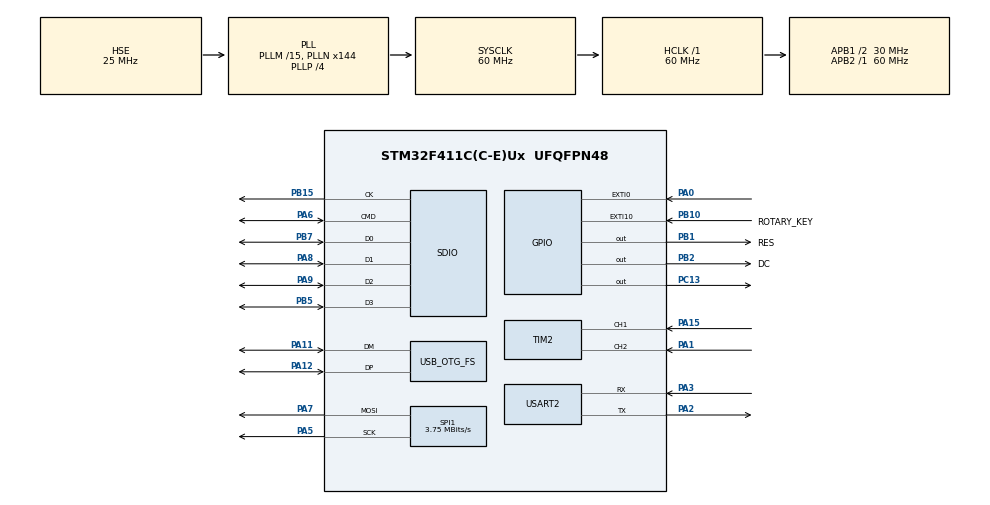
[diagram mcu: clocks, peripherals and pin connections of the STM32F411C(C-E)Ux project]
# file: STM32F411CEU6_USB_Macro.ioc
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Dma.Request0=SDIO_RX
Dma.Request1=SDIO_TX
Dma.Request2=USART2_RX
Dma.Request3=SPI1_TX
Dma.SDIO_RX.0.Direction=DMA_PERIPH_TO_MEMORY
Dma.SDIO_RX.0.FIFOMode=DMA_FIFOMODE_ENABLE
Dma.SDIO_RX.0.FIFOThreshold=DMA_FIFO_THRESHOLD_FULL
Dma.SDIO_RX.0.Instance=DMA2_Stream3
Dma.SDIO_RX.0.MemBurst=DMA_MBURST_INC4
Dma.SDIO_RX.0.MemDataAlignment=DMA_MDATAALIGN_WORD
Dma.SDIO_RX.0.MemInc=DMA_MINC_ENABLE
Dma.SDIO_RX.0.Mode=DMA_PFCTRL
Dma.SDIO_RX.0.PeriphBurst=DMA_PBURST_INC4
Dma.SDIO_RX.0.PeriphDataAlignment=DMA_PDATAALIGN_WORD
Dma.SDIO_RX.0.PeriphInc=DMA_PINC_DISABLE
Dma.SDIO_RX.0.Priority=DMA_PRIORITY_LOW
Dma.SDIO_TX.1.Direction=DMA_MEMORY_TO_PERIPH
Dma.SDIO_TX.1.FIFOMode=DMA_FIFOMODE_ENABLE
Dma.SDIO_TX.1.FIFOThreshold=DMA_FIFO_THRESHOLD_FULL
Dma.SDIO_TX.1.Instance=DMA2_Stream6
Dma.SDIO_TX.1.MemBurst=DMA_MBURST_INC4
Dma.SDIO_TX.1.MemDataAlignment=DMA_MDATAALIGN_WORD
Dma.SDIO_TX.1.MemInc=DMA_MINC_ENABLE
Dma.SDIO_TX.1.Mode=DMA_PFCTRL
Dma.SDIO_TX.1.PeriphBurst=DMA_PBURST_INC4
Dma.SDIO_TX.1.PeriphDataAlignment=DMA_PDATAALIGN_WORD
Dma.SDIO_TX.1.PeriphInc=DMA_PINC_DISABLE
Dma.SDIO_TX.1.Priority=DMA_PRIORITY_LOW
Dma.SPI1_TX.3.Direction=DMA_MEMORY_TO_PERIPH
Dma.SPI1_TX.3.FIFOMode=DMA_FIFOMODE_DISABLE
Dma.SPI1_TX.3.Instance=DMA2_Stream2
Dma.SPI1_TX.3.MemDataAlignment=DMA_MDATAALIGN_BYTE
Dma.SPI1_TX.3.MemInc=DMA_MINC_ENABLE
Dma.SPI1_TX.3.Mode=DMA_NORMAL
Dma.SPI1_TX.3.PeriphDataAlignment=DMA_PDATAALIGN_BYTE
Dma.SPI1_TX.3.PeriphInc=DMA_PINC_DISABLE
Dma.SPI1_TX.3.Priority=DMA_PRIORITY_LOW
Dma.USART2_RX.2.Direction=DMA_PERIPH_TO_MEMORY
Dma.USART2_RX.2.FIFOMode=DMA_FIFOMODE_DISABLE
Dma.USART2_RX.2.Instance=DMA1_Stream5
Dma.USART2_RX.2.MemDataAlignment=DMA_MDATAALIGN_BYTE
Dma.USART2_RX.2.MemInc=DMA_MINC_ENABLE
Dma.USART2_RX.2.Mode=DMA_CIRCULAR
Dma.USART2_RX.2.PeriphDataAlignment=DMA_PDATAALIGN_BYTE
Dma.USART2_RX.2.PeriphInc=DMA_PINC_DISABLE
Dma.USART2_RX.2.Priority=DMA_PRIORITY_LOW
Mcu.Family=STM32F4
Mcu.Name=STM32F411C(C-E)Ux
Mcu.Package=UFQFPN48
NVIC.DMA1_Stream5_IRQn=true\:0\:0\:false\:false\:true\:false\:true\:true
NVIC.DMA2_Stream2_IRQn=true\:0\:0\:false\:false\:true\:false\:true\:true
NVIC.DMA2_Stream3_IRQn=true\:0\:0\:false\:false\:true\:false\:true\:true
NVIC.DMA2_Stream6_IRQn=true\:0\:0\:false\:false\:true\:false\:true\:true
NVIC.EXTI0_IRQn=true\:0\:0\:false\:false\:true\:true\:true\:true
NVIC.EXTI15_10_IRQn=true\:0\:0\:false\:false\:true\:true\:true\:true
NVIC.OTG_FS_IRQn=true\:0\:0\:false\:false\:true\:true\:true\:true
NVIC.PriorityGroup=NVIC_PRIORITYGROUP_4
NVIC.SDIO_IRQn=true\:0\:0\:false\:false\:true\:true\:true\:true
NVIC.SPI1_IRQn=true\:0\:0\:false\:false\:true\:true\:true\:true
NVIC.TIM1_UP_TIM10_IRQn=true\:0\:0\:false\:false\:true\:true\:true\:true
NVIC.USART2_IRQn=true\:0\:0\:false\:false\:true\:true\:true\:true
PA0-WKUP.GPIO_PuPd=GPIO_PULLUP
PA0-WKUP.Signal=GPXTI0
PA1.Signal=S_TIM2_CH2
PA11.Mode=Device_Only
PA11.Signal=USB_OTG_FS_DM
PA12.Mode=Device_Only
PA12.Signal=USB_OTG_FS_DP
PA15.Signal=S_TIM2_CH1_ETR
PA2.Mode=Asynchronous
PA2.Signal=USART2_TX
PA3.Mode=Asynchronous
PA3.Signal=USART2_RX
PA5.Mode=TX_Only_Simplex_Unidirect_Master
PA5.Signal=SPI1_SCK
PA6.Mode=SD_4_bits_Wide_bus
PA6.Signal=SDIO_CMD
PA7.Mode=TX_Only_Simplex_Unidirect_Master
PA7.Signal=SPI1_MOSI
PA8.Mode=SD_4_bits_Wide_bus
PA8.Signal=SDIO_D1
PA9.Mode=SD_4_bits_Wide_bus
PA9.Signal=SDIO_D2
PB1.GPIO_Label=RES
PB1.Signal=GPIO_Output
PB10.GPIO_Label=ROTARY_KEY
PB10.GPIO_PuPd=GPIO_PULLUP
PB10.Signal=GPXTI10
PB15.Mode=SD_4_bits_Wide_bus
PB15.Signal=SDIO_CK
PB2.GPIO_Label=DC
PB2.Signal=GPIO_Output
PB5.Mode=SD_4_bits_Wide_bus
PB5.Signal=SDIO_D3
PB7.Mode=SD_4_bits_Wide_bus
PB7.Signal=SDIO_D0
PC13-ANTI_TAMP.Signal=GPIO_Output
PC14-OSC32_IN.Mode=LSE-External-Oscillator
PC14-OSC32_IN.Signal=RCC_OSC32_IN
PC15-OSC32_OUT.Mode=LSE-External-Oscillator
PC15-OSC32_OUT.Signal=RCC_OSC32_OUT
PH0\ -\ OSC_IN.Mode=HSE-External-Oscillator
PH0\ -\ OSC_IN.Signal=RCC_OSC_IN
PH1\ -\ OSC_OUT.Mode=HSE-External-Oscillator
PH1\ -\ OSC_OUT.Signal=RCC_OSC_OUT
ProjectManager.HeapSize=0x200
ProjectManager.StackSize=0x400
ProjectManager.TargetToolchain=STM32CubeIDE
RCC.48MHZClocksFreq_Value=48000000
RCC.AHBFreq_Value=60000000
RCC.APB1CLKDivider=RCC_HCLK_DIV2
RCC.APB1Freq_Value=30000000
RCC.APB1TimFreq_Value=60000000
RCC.APB2Freq_Value=60000000
RCC.APB2TimFreq_Value=60000000
RCC.CortexFreq_Value=60000000
RCC.HCLKFreq_Value=60000000
RCC.HSE_VALUE=25000000
RCC.HSI_VALUE=16000000
RCC.PLLM=15
RCC.PLLN=144
RCC.PLLP=RCC_PLLP_DIV4
RCC.PLLQ=5
RCC.RCC_RTC_Clock_Source=RCC_RTCCLKSOURCE_LSI
RCC.RCC_RTC_Clock_SourceVirtual=RCC_RTCCLKSOURCE_LSI
RCC.SYSCLKFreq_VALUE=60000000
RCC.SYSCLKSource=RCC_SYSCLKSOURCE_PLLCLK
RCC.VCOOutputFreq_Value=240000000
SDIO.ClockDiv=20
SH.S_TIM2_CH1_ETR.0=TIM2_CH1,Encoder_Interface
SH.S_TIM2_CH2.0=TIM2_CH2,Encoder_Interface
SPI1.BaudRatePrescaler=SPI_BAUDRATEPRESCALER_16
SPI1.CalculateBaudRate=3.75 MBits/s
SPI1.Direction=SPI_DIRECTION_2LINES
SPI1.Mode=SPI_MODE_MASTER
SPI1.VirtualType=VM_MASTER
TIM10.Channel=TIM_CHANNEL_1
TIM10.Period=10000
TIM10.Prescaler=6000-1
TIM11.Channel=TIM_CHANNEL_1
TIM11.Prescaler=60-1
TIM2.IC1Filter=10
TIM2.IC2Filter=10
TIM5.Channel-Output\ Compare1\ No\ Output=TIM_CHANNEL_1
TIM5.Prescaler=60000-1
TIM9.Channel-Output\ Compare1\ No\ Output=TIM_CHANNEL_1
TIM9.Prescaler=60000-1
USART2.VirtualMode=VM_ASYNC
USB_OTG_FS.VirtualMode=Device_Only
VP_TIM10_VS_ClockSourceINT.Mode=Enable_Timer
VP_TIM10_VS_no_output1.Mode=Output Compare1 No Output
VP_TIM11_VS_ClockSourceINT.Mode=Enable_Timer
VP_TIM11_VS_no_output1.Mode=Output Compare1 No Output
VP_TIM5_VS_no_output1.Mode=Output Compare1 No Output
VP_TIM9_VS_no_output1.Mode=Output Compare1 No Output
board=custom

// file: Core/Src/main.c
/* USER CODE BEGIN Header */
/**
 ******************************************************************************
 * @file           : main.c
 * @brief          : Main program body
 ******************************************************************************
 * @attention
 *
 * Copyright (c) 2025 STMicroelectronics.
 * All rights reserved.
 *
 * This software is licensed under terms that can be found in the LICENSE file
 * in the root directory of this software component.
 * If no LICENSE file comes with this software, it is provided AS-IS.
 *
 ******************************************************************************
 */
/* USER CODE END Header */
#include "main.h"

/* USER CODE BEGIN Includes */
#include <string.h>
#include <stdbool.h>
#include <stdio.h>
#include <stdlib.h>

#include <tusb.h>
#include <buffer_event.h>
#include <oled.h>
#include <ui.h>
/* USER CODE END Includes */

SD_HandleTypeDef hsd;
DMA_HandleTypeDef hdma_sdio_rx;
DMA_HandleTypeDef hdma_sdio_tx;

SPI_HandleTypeDef hspi1;
DMA_HandleTypeDef hdma_spi1_tx;

TIM_HandleTypeDef htim2;
TIM_HandleTypeDef htim5;
TIM_HandleTypeDef htim9;
TIM_HandleTypeDef htim10;
TIM_HandleTypeDef htim11;

UART_HandleTypeDef huart2;
DMA_HandleTypeDef hdma_usart2_rx;

PCD_HandleTypeDef hpcd_USB_OTG_FS;

void SystemClock_Config(void);
static void MX_GPIO_Init(void);
static void MX_DMA_Init(void);
static void MX_SDIO_SD_Init(void);
static void MX_TIM11_Init(void);
static void MX_USART2_UART_Init(void);
static void MX_SPI1_Init(void);
static void MX_USB_OTG_FS_PCD_Init(void);
static void MX_TIM10_Init(void);
static void MX_TIM2_Init(void);
static void MX_TIM9_Init(void);
static void MX_TIM5_Init(void);

/* USER CODE BEGIN 0 */
#define ROOT_ARR (5000 - 1)
#define LINUX_ARR (1000 - 1)
#define EMERG_ARR (500 - 1)

#define BTN_DEBUN 20

volatile uint8_t g_usb_mode = USB_MODE_MSC_VENDOR;
volatile bool usb_ready = true;
volatile bool btn_clicked = false;

char tiny2uart[BUFFER_SIZE*2*32]; //5k

/* USER CODE END PV */

/* Private function prototypes -----------------------------------------------*/
void SystemClock_Config(void);
static void MX_GPIO_Init(void);
static void MX_DMA_Init(void);
static void MX_USART2_UART_Init(void);
static void MX_USB_OTG_FS_PCD_Init(void);
static void MX_TIM11_Init(void);
static void MX_SDIO_SD_Init(void);
/* USER CODE BEGIN PFP */
extern void init_disk_data();
/* USER CODE END PFP */

/* Private user code ---------------------------------------------------------*/
/* USER CODE BEGIN 0 */

int _write(int file, char *ptr, int len) {
	(void) file;
	HAL_UART_Transmit(&huart2, (uint8_t*) ptr, len, HAL_MAX_DELAY);
	return len;
}

void HAL_TIM_OC_DelayElapsedCallback(TIM_HandleTypeDef *htim) {
	if (usb_ready) {
		HAL_GPIO_TogglePin(GPIOC, GPIO_PIN_13);
	}
}

void HAL_GPIO_EXTI_Callback(uint16_t GPIO_Pin) {
	if (__HAL_TIM_GET_COUNTER(&htim9) < BTN_DEBUN) {
		return;
	}
	__HAL_TIM_SET_COUNTER(&htim9, 0);

	if (GPIO_Pin == ROTARY_KEY_Pin) {
		btn_clicked = true;
		return;
	}
}

void mod_change_watchdog() {
	if (!usb_ready) {

		switch(g_s_state){
		case UI_STATE_LINUX_MODE:
			g_usb_mode = USB_MODE_MSC_VENDOR;
			break;
		case UI_STATE_EMERGENCY_MODE:
			g_usb_mode = USB_MODE_CDC;
			break;
		default:
			usb_ready = true;
			return;
//		case UI_STATE_WINDOW_MODE:
//			__HAL_TIM_SET_AUTORELOAD(&htim10, WINDOW_ARR);
//			g_usb_mode = USB_MODE_HID_MSC;
//			break;
		}

		tud_disconnect();
		HAL_Delay(500);
		tud_connect();

		switch(g_s_state){
		case UI_STATE_LINUX_MODE:
			__HAL_TIM_SET_AUTORELOAD(&htim10, LINUX_ARR);
			break;
		case UI_STATE_EMERGENCY_MODE:
			__HAL_TIM_SET_AUTORELOAD(&htim10, EMERG_ARR);
			break;
		default:
			usb_ready = true;
			return;
//		case UI_STATE_WINDOW_MODE:
//			__HAL_TIM_SET_AUTORELOAD(&htim10, WINDOW_ARR);
//			g_usb_mode = USB_MODE_HID_MSC;
//			break;
		}

		usb_ready = true;
	}
}

void cdc_task(void) {
	// 2. PC와 연결되어 있는지 확인 (DTR 신호 체크)
	if (tud_cdc_connected()) {
		// 3. 읽을 데이터가 있는지 확인
		if (tud_cdc_available()) {
			// 데이터 읽기
			uint32_t count = tud_cdc_read(tiny2lsuart, sizeof(tiny2uart));

			HAL_UART_Transmit(&huart2, (uint8_t*) tiny2uart, count ,HAL_MAX_DELAY);
		}
	}
}

// full or half -> callback -> buffer fill twice
#define BUF_SIZE 1024

uint8_t is_fulled = 0;
uint8_t is_halfed = 0;

uint8_t recv_buf[BUF_SIZE] = { 0 };
uint8_t recv_val[BUF_SIZE] = { 0 };
uint16_t uart_h = 0;

void HAL_UARTEx_RxEventCallback(UART_HandleTypeDef *huart, uint16_t Size) {
	// Size는 buf 0부터 현재까지 수신된 데이터의 개수
	if (!is_halfed && (Size == BUF_SIZE / 2)) {
		is_halfed = 1;
		return;
	}

	if (!is_fulled && (Size == BUF_SIZE)) {
		is_fulled = 1;
		return;
	}

	is_halfed = 0;
	is_fulled = 0;

	memset(recv_val, 0, BUF_SIZE);
	uint16_t tmp = 0;

//	printf("1: %d-%d %s\n", Size, uart_h, recv_val);

	if (Size < uart_h) { // ring buffer overwrite
		while (uart_h < BUF_SIZE) {
			recv_val[tmp++] = recv_buf[uart_h++];
		}
		uart_h = 0;
	}

	while (uart_h < Size) {
		recv_val[tmp++] = recv_buf[uart_h++];
	}
	recv_val[tmp] = '\0';
//
//	printf("2: %d-%d %s\n", Size, uart_h, recv_val);

	if (g_usb_mode == USB_MODE_CDC) {
		tud_cdc_write(recv_val, sizeof(recv_val));
	}
}

static int Encoder_GetStep(void) {
	static int32_t last = 0;
	static int32_t accum = 0;
	const int DET = 2;   // ✅ 한 딸깍당 이동이 맞게 1/2/4로 튜닝

	int32_t cnt = (int32_t) __HAL_TIM_GET_COUNTER(&htim2);
	int32_t delta = cnt - last;
	last = cnt;

	if (delta == 0)
		return 0;

	accum -= delta;

	if (accum >= DET) {
		accum = 0;
		return +1;
	}
	if (accum <= -DET) {
		accum = 0;
		return -1;
	}
	return 0;
}
/* USER CODE END 0 */

int main(void) {

	/* MCU Configuration--------------------------------------------------------*/

	/* Reset of all peripherals, Initializes the Flash interface and the Systick. */
	HAL_Init();

	/* Configure the system clock */
	SystemClock_Config();

	/* Initialize all configured peripherals */
	MX_GPIO_Init();
	MX_DMA_Init();
	MX_SDIO_SD_Init();
	MX_TIM11_Init();
	MX_USART2_UART_Init();
	MX_SPI1_Init();
	MX_USB_OTG_FS_PCD_Init();
	MX_TIM10_Init();
	MX_TIM2_Init();
	MX_TIM9_Init();
	MX_TIM5_Init();
	/* USER CODE BEGIN 2 */
	SD_Init();
#ifndef WITHOUT_TUD
	tusb_init();
#endif // WITHOUT_TUD
	HAL_TIM_OC_Start(&htim5, TIM_CHANNEL_1);
	HAL_TIM_OC_Start(&htim9, TIM_CHANNEL_1);
	HAL_TIM_OC_Start(&htim11, TIM_CHANNEL_1);
	HAL_TIM_OC_Start_IT(&htim10, TIM_CHANNEL_1);
	HAL_TIM_Encoder_Start(&htim2, TIM_CHANNEL_ALL);
	HAL_UARTEx_ReceiveToIdle_DMA(&huart2, recv_buf, BUF_SIZE);

	__HAL_TIM_SET_AUTORELOAD(&htim10, LINUX_ARR);

	OLED_Init(&hspi1);
	UI_Init();
//	SD_Test();

	/* USER CODE END 2 */

	/* Infinite loop */
	/* USER CODE BEGIN WHILE */
	while (1) {
#ifndef WITHOUT_TUD
		tud_task();
#endif // WITHOUT_TUD
		mod_change_watchdog();

		if (__HAL_TIM_GET_COUNTER(&htim5) > 20) {
			int step = Encoder_GetStep();
			UI_Process(step, btn_clicked);
			btn_clicked = false;
			__HAL_TIM_SET_COUNTER(&htim5, 0);
		}

		switch (g_usb_mode) {
		case USB_MODE_CDC:
			cdc_task();
			break;
		case USB_MODE_MSC_VENDOR:
			break;
		case USB_MODE_HID_MSC:
			break;
		}
		/* USER CODE END WHILE */

	}
}

void SystemClock_Config(void) {
	RCC_OscInitTypeDef RCC_OscInitStruct = { 0 };
	RCC_ClkInitTypeDef RCC_ClkInitStruct = { 0 };

	/** Configure the main internal regulator output voltage
	 */
	__HAL_RCC_PWR_CLK_ENABLE();
	__HAL_PWR_VOLTAGESCALING_CONFIG(PWR_REGULATOR_VOLTAGE_SCALE1);

	/** Initializes the RCC Oscillators according to the specified parameters
	 * in the RCC_OscInitTypeDef structure.
	 */
	RCC_OscInitStruct.OscillatorType = RCC_OSCILLATORTYPE_HSE;
	RCC_OscInitStruct.HSEState = RCC_HSE_ON;
	RCC_OscInitStruct.PLL.PLLState = RCC_PLL_ON;
	RCC_OscInitStruct.PLL.PLLSource = RCC_PLLSOURCE_HSE;
	RCC_OscInitStruct.PLL.PLLM = 15;
	RCC_OscInitStruct.PLL.PLLN = 144;
	RCC_OscInitStruct.PLL.PLLP = RCC_PLLP_DIV4;
	RCC_OscInitStruct.PLL.PLLQ = 5;
	if (HAL_RCC_OscConfig(&RCC_OscInitStruct) != HAL_OK) {
		Error_Handler();
	}

	/** Initializes the CPU, AHB and APB buses clocks
	 */
	RCC_ClkInitStruct.ClockType = RCC_CLOCKTYPE_HCLK | RCC_CLOCKTYPE_SYSCLK
			| RCC_CLOCKTYPE_PCLK1 | RCC_CLOCKTYPE_PCLK2;
	RCC_ClkInitStruct.SYSCLKSource = RCC_SYSCLKSOURCE_PLLCLK;
	RCC_ClkInitStruct.AHBCLKDivider = RCC_SYSCLK_DIV1;
	RCC_ClkInitStruct.APB1CLKDivider = RCC_HCLK_DIV2;
	RCC_ClkInitStruct.APB2CLKDivider = RCC_HCLK_DIV1;

	if (HAL_RCC_ClockConfig(&RCC_ClkInitStruct, FLASH_LATENCY_1) != HAL_OK) {
		Error_Handler();
	}
}

static void MX_SDIO_SD_Init(void) {

	hsd.Instance = SDIO;
	hsd.Init.ClockEdge = SDIO_CLOCK_EDGE_RISING;
	hsd.Init.ClockBypass = SDIO_CLOCK_BYPASS_DISABLE;
	hsd.Init.ClockPowerSave = SDIO_CLOCK_POWER_SAVE_DISABLE;
	hsd.Init.BusWide = SDIO_BUS_WIDE_1B;
	hsd.Init.HardwareFlowControl = SDIO_HARDWARE_FLOW_CONTROL_DISABLE;
	hsd.Init.ClockDiv = 20;
	if (HAL_SD_Init(&hsd) != HAL_OK) {
		Error_Handler();
	}
	if (HAL_SD_ConfigWideBusOperation(&hsd, SDIO_BUS_WIDE_4B) != HAL_OK) {
		Error_Handler();
	}

}

static void MX_SPI1_Init(void) {

	/* SPI1 parameter configuration*/
	hspi1.Instance = SPI1;
	hspi1.Init.Mode = SPI_MODE_MASTER;
	hspi1.Init.Direction = SPI_DIRECTION_2LINES;
	hspi1.Init.DataSize = SPI_DATASIZE_8BIT;
	hspi1.Init.CLKPolarity = SPI_POLARITY_LOW;
	hspi1.Init.CLKPhase = SPI_PHASE_1EDGE;
	hspi1.Init.NSS = SPI_NSS_SOFT;
	hspi1.Init.BaudRatePrescaler = SPI_BAUDRATEPRESCALER_16;
	hspi1.Init.FirstBit = SPI_FIRSTBIT_MSB;
	hspi1.Init.TIMode = SPI_TIMODE_DISABLE;
	hspi1.Init.CRCCalculation = SPI_CRCCALCULATION_DISABLE;
	hspi1.Init.CRCPolynomial = 10;
	if (HAL_SPI_Init(&hspi1) != HAL_OK) {
		Error_Handler();
	}

}

static void MX_TIM2_Init(void) {

	TIM_Encoder_InitTypeDef sConfig = { 0 };
	TIM_MasterConfigTypeDef sMasterConfig = { 0 };

	htim2.Instance = TIM2;
	htim2.Init.Prescaler = 0;
	htim2.Init.CounterMode = TIM_COUNTERMODE_UP;
	htim2.Init.Period = 4294967295;
	htim2.Init.ClockDivision = TIM_CLOCKDIVISION_DIV1;
	htim2.Init.AutoReloadPreload = TIM_AUTORELOAD_PRELOAD_DISABLE;
	sConfig.EncoderMode = TIM_ENCODERMODE_TI1;
	sConfig.IC1Polarity = TIM_ICPOLARITY_RISING;
	sConfig.IC1Selection = TIM_ICSELECTION_DIRECTTI;
	sConfig.IC1Prescaler = TIM_ICPSC_DIV1;
	sConfig.IC1Filter = 10;
	sConfig.IC2Polarity = TIM_ICPOLARITY_RISING;
	sConfig.IC2Selection = TIM_ICSELECTION_DIRECTTI;
	sConfig.IC2Prescaler = TIM_ICPSC_DIV1;
	sConfig.IC2Filter = 10;
	if (HAL_TIM_Encoder_Init(&htim2, &sConfig) != HAL_OK) {
		Error_Handler();
	}
	sMasterConfig.MasterOutputTrigger = TIM_TRGO_RESET;
	sMasterConfig.MasterSlaveMode = TIM_MASTERSLAVEMODE_DISABLE;
	if (HAL_TIMEx_MasterConfigSynchronization(&htim2, &sMasterConfig)
			!= HAL_OK) {
		Error_Handler();
	}

}

static void MX_TIM5_Init(void) {

	TIM_MasterConfigTypeDef sMasterConfig = { 0 };
	TIM_OC_InitTypeDef sConfigOC = { 0 };

	htim5.Instance = TIM5;
	htim5.Init.Prescaler = 60000 - 1;
	htim5.Init.CounterMode = TIM_COUNTERMODE_UP;
	htim5.Init.Period = 4294967295;
	htim5.Init.ClockDivision = TIM_CLOCKDIVISION_DIV1;
	htim5.Init.AutoReloadPreload = TIM_AUTORELOAD_PRELOAD_DISABLE;
	if (HAL_TIM_OC_Init(&htim5) != HAL_OK) {
		Error_Handler();
	}
	sMasterConfig.MasterOutputTrigger = TIM_TRGO_RESET;
	sMasterConfig.MasterSlaveMode = TIM_MASTERSLAVEMODE_DISABLE;
	if (HAL_TIMEx_MasterConfigSynchronization(&htim5, &sMasterConfig)
			!= HAL_OK) {
		Error_Handler();
	}
	sConfigOC.OCMode = TIM_OCMODE_TIMING;
	sConfigOC.Pulse = 0;
	sConfigOC.OCPolarity = TIM_OCPOLARITY_HIGH;
	sConfigOC.OCFastMode = TIM_OCFAST_DISABLE;
	if (HAL_TIM_OC_ConfigChannel(&htim5, &sConfigOC, TIM_CHANNEL_1) != HAL_OK) {
		Error_Handler();
	}

}

static void MX_TIM9_Init(void) {

	TIM_OC_InitTypeDef sConfigOC = { 0 };

	htim9.Instance = TIM9;
	htim9.Init.Prescaler = 60000 - 1;
	htim9.Init.CounterMode = TIM_COUNTERMODE_UP;
	htim9.Init.Period = 65535;
	htim9.Init.ClockDivision = TIM_CLOCKDIVISION_DIV1;
	htim9.Init.AutoReloadPreload = TIM_AUTORELOAD_PRELOAD_DISABLE;
	if (HAL_TIM_OC_Init(&htim9) != HAL_OK) {
		Error_Handler();
	}
	sConfigOC.OCMode = TIM_OCMODE_TIMING;
	sConfigOC.Pulse = 0;
	sConfigOC.OCPolarity = TIM_OCPOLARITY_HIGH;
	sConfigOC.OCFastMode = TIM_OCFAST_DISABLE;
	if (HAL_TIM_OC_ConfigChannel(&htim9, &sConfigOC, TIM_CHANNEL_1) != HAL_OK) {
		Error_Handler();
	}

}

static void MX_TIM10_Init(void) {

	TIM_OC_InitTypeDef sConfigOC = { 0 };

	htim10.Instance = TIM10;
	htim10.Init.Prescaler = 6000 - 1;
	htim10.Init.CounterMode = TIM_COUNTERMODE_UP;
	htim10.Init.Period = 10000;
	htim10.Init.ClockDivision = TIM_CLOCKDIVISION_DIV1;
	htim10.Init.AutoReloadPreload = TIM_AUTORELOAD_PRELOAD_DISABLE;
	if (HAL_TIM_Base_Init(&htim10) != HAL_OK) {
		Error_Handler();
	}
	if (HAL_TIM_OC_Init(&htim10) != HAL_OK) {
		Error_Handler();
	}
	sConfigOC.OCMode = TIM_OCMODE_TIMING;
	sConfigOC.Pulse = 0;
	sConfigOC.OCPolarity = TIM_OCPOLARITY_HIGH;
	sConfigOC.OCFastMode = TIM_OCFAST_DISABLE;
	if (HAL_TIM_OC_ConfigChannel(&htim10, &sConfigOC, TIM_CHANNEL_1)
			!= HAL_OK) {
		Error_Handler();
	}

}

static void MX_TIM11_Init(void) {

	TIM_OC_InitTypeDef sConfigOC = { 0 };

	htim11.Instance = TIM11;
	htim11.Init.Prescaler = 60 - 1;
	htim11.Init.CounterMode = TIM_COUNTERMODE_UP;
	htim11.Init.Period = 65535;
	htim11.Init.ClockDivision = TIM_CLOCKDIVISION_DIV1;
	htim11.Init.AutoReloadPreload = TIM_AUTORELOAD_PRELOAD_DISABLE;
	if (HAL_TIM_Base_Init(&htim11) != HAL_OK) {
		Error_Handler();
	}
	if (HAL_TIM_OC_Init(&htim11) != HAL_OK) {
		Error_Handler();
	}
	sConfigOC.OCMode = TIM_OCMODE_TIMING;
	sConfigOC.Pulse = 0;
	sConfigOC.OCPolarity = TIM_OCPOLARITY_HIGH;
	sConfigOC.OCFastMode = TIM_OCFAST_DISABLE;
	if (HAL_TIM_OC_ConfigChannel(&htim11, &sConfigOC, TIM_CHANNEL_1)
			!= HAL_OK) {
		Error_Handler();
	}

}

static void MX_USART2_UART_Init(void) {

	huart2.Instance = USART2;
	huart2.Init.BaudRate = 115200;
	huart2.Init.WordLength = UART_WORDLENGTH_8B;
	huart2.Init.StopBits = UART_STOPBITS_1;
	huart2.Init.Parity = UART_PARITY_NONE;
	huart2.Init.Mode = UART_MODE_TX_RX;
	huart2.Init.HwFlowCtl = UART_HWCONTROL_NONE;
	huart2.Init.OverSampling = UART_OVERSAMPLING_16;
	if (HAL_UART_Init(&huart2) != HAL_OK) {
		Error_Handler();
	}

}

static void MX_USB_OTG_FS_PCD_Init(void) {

	hpcd_USB_OTG_FS.Instance = USB_OTG_FS;
	hpcd_USB_OTG_FS.Init.dev_endpoints = 4;
	hpcd_USB_OTG_FS.Init.speed = PCD_SPEED_FULL;
	hpcd_USB_OTG_FS.Init.dma_enable = DISABLE;
	hpcd_USB_OTG_FS.Init.phy_itface = PCD_PHY_EMBEDDED;
	hpcd_USB_OTG_FS.Init.Sof_enable = DISABLE;
	hpcd_USB_OTG_FS.Init.low_power_enable = DISABLE;
	hpcd_USB_OTG_FS.Init.lpm_enable = DISABLE;
	hpcd_USB_OTG_FS.Init.vbus_sensing_enable = DISABLE;
	hpcd_USB_OTG_FS.Init.use_dedicated_ep1 = DISABLE;
	if (HAL_PCD_Init(&hpcd_USB_OTG_FS) != HAL_OK) {
		Error_Handler();
	}

}

static void MX_DMA_Init(void) {

	/* DMA controller clock enable */
	__HAL_RCC_DMA2_CLK_ENABLE();
	__HAL_RCC_DMA1_CLK_ENABLE();

	/* DMA interrupt init */
	/* DMA1_Stream5_IRQn interrupt configuration */
	HAL_NVIC_SetPriority(DMA1_Stream5_IRQn, 0, 0);
	HAL_NVIC_EnableIRQ(DMA1_Stream5_IRQn);
	/* DMA2_Stream2_IRQn interrupt configuration */
	HAL_NVIC_SetPriority(DMA2_Stream2_IRQn, 0, 0);
	HAL_NVIC_EnableIRQ(DMA2_Stream2_IRQn);
	/* DMA2_Stream3_IRQn interrupt configuration */
	HAL_NVIC_SetPriority(DMA2_Stream3_IRQn, 0, 0);
	HAL_NVIC_EnableIRQ(DMA2_Stream3_IRQn);
	/* DMA2_Stream6_IRQn interrupt configuration */
	HAL_NVIC_SetPriority(DMA2_Stream6_IRQn, 0, 0);
	HAL_NVIC_EnableIRQ(DMA2_Stream6_IRQn);

}

static void MX_GPIO_Init(void) {
	GPIO_InitTypeDef GPIO_InitStruct = { 0 };

	/* GPIO Ports Clock Enable */
	__HAL_RCC_GPIOC_CLK_ENABLE();
	__HAL_RCC_GPIOH_CLK_ENABLE();
	__HAL_RCC_GPIOA_CLK_ENABLE();
	__HAL_RCC_GPIOB_CLK_ENABLE();

	/*Configure GPIO pin Output Level */
	HAL_GPIO_WritePin(GPIOC, GPIO_PIN_13, GPIO_PIN_RESET);

	/*Configure GPIO pin Output Level */
	HAL_GPIO_WritePin(GPIOB, RES_Pin | DC_Pin, GPIO_PIN_RESET);

	/*Configure GPIO pin : PC13 */
	GPIO_InitStruct.Pin = GPIO_PIN_13;
	GPIO_InitStruct.Mode = GPIO_MODE_OUTPUT_PP;
	GPIO_InitStruct.Pull = GPIO_NOPULL;
	GPIO_InitStruct.Speed = GPIO_SPEED_FREQ_LOW;
	HAL_GPIO_Init(GPIOC, &GPIO_InitStruct);

	/*Configure GPIO pin : PA0 */
	GPIO_InitStruct.Pin = GPIO_PIN_0;
	GPIO_InitStruct.Mode = GPIO_MODE_IT_RISING;
	GPIO_InitStruct.Pull = GPIO_PULLUP;
	HAL_GPIO_Init(GPIOA, &GPIO_InitStruct);

	/*Configure GPIO pins : RES_Pin DC_Pin */
	GPIO_InitStruct.Pin = RES_Pin | DC_Pin;
	GPIO_InitStruct.Mode = GPIO_MODE_OUTPUT_PP;
	GPIO_InitStruct.Pull = GPIO_NOPULL;
	GPIO_InitStruct.Speed = GPIO_SPEED_FREQ_LOW;
	HAL_GPIO_Init(GPIOB, &GPIO_InitStruct);

	/*Configure GPIO pin : ROTARY_KEY_Pin */
	GPIO_InitStruct.Pin = ROTARY_KEY_Pin;
	GPIO_InitStruct.Mode = GPIO_MODE_IT_RISING;
	GPIO_InitStruct.Pull = GPIO_PULLUP;
	HAL_GPIO_Init(ROTARY_KEY_GPIO_Port, &GPIO_InitStruct);

	/* EXTI interrupt init*/
	HAL_NVIC_SetPriority(EXTI0_IRQn, 0, 0);
	HAL_NVIC_EnableIRQ(EXTI0_IRQn);

	HAL_NVIC_SetPriority(EXTI15_10_IRQn, 0, 0);
	HAL_NVIC_EnableIRQ(EXTI15_10_IRQn);

}

void Error_Handler(void) {
	/* USER CODE BEGIN Error_Handler_Debug */
	/* User can add his own implementation to report the HAL error return state */
	__disable_irq();
	while (1) {
		printf("error_handler\n");
	}
	/* USER CODE END Error_Handler_Debug */
}
